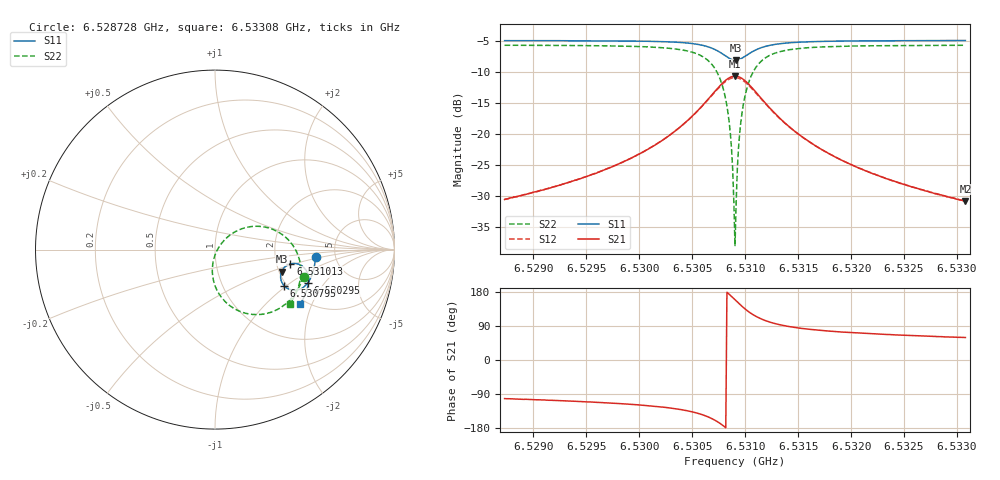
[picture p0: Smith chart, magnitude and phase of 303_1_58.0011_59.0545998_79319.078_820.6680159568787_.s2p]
#  HZ  S  RI  R  50.00
! Rohde & Schwarz Vector Network Analyzer
! Rohde-Schwarz,ZNB20-2Port,1311601062101988,3.16
! Created: UTC 3/21/2024, 1:03:52 AM
! freq[Hz]  re:S11  im:S11  re:S21  im:S21  re:S12  im:S12  re:S22  im:S22
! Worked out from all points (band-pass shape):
!   401 points, 6.528728 GHz to 6.53308 GHz, reference 50 ohm
!   highest |S21| = -10.73 dB at 6.530904 GHz (marker M1); lowest = -30.8 dB at 6.53308 GHz (marker M2)
!   |S21| within 3 dB of the highest: 6.530687 GHz to 6.531122 GHz (435.7 kHz wide, 0.00667 % of centre)
!   lowest |S11| = -8.2 dB at 6.530915 GHz (marker M3), VSWR 2.28, Z = 103 - j29.9 ohm
!   |S11| at or under -10 dB: nowhere
!   |S22| runs from -38.1 to -5.8 dB; largest |S21 - S12| = 0.011
!   S11 on the Smith chart (normalised r, x): 6.528728 GHz: 3.50, -0.45; 6.530295 GHz: 2.59, -1.39; 6.530795 GHz: 1.94, -0.96; 6.531013 GHz: 2.39, -0.46; 6.53308 GHz: 1.84, -1.65
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6.5287283e9  0.56 -0.044  -0.00605 -0.0289  -0.00667 -0.0288  0.4933 -0.1502
6.5294572e9  0.5511 -0.1039  -0.0149 -0.0413  -0.0158 -0.0409  0.4645 -0.2165
6.5301862e9  0.5244 -0.1749  -0.0465 -0.071  -0.0485 -0.0698  0.3877 -0.3083
6.530295e9  0.5157 -0.1877  -0.0589 -0.0788  -0.0611 -0.0771  0.3616 -0.326
6.5306323e9  0.4532 -0.2258  -0.1544 -0.0961  -0.1567 -0.0902  0.1808 -0.3569
6.5307302e9  0.414 -0.2213  -0.2153 -0.0725  -0.2148 -0.0636  0.0775 -0.3083
6.5307955e9  0.3848 -0.2012  -0.2586 -0.0277  -0.2543 -0.0184  0.011 -0.2261
6.5308499e9  0.3679 -0.1697  -0.28 0.033  -0.2723 0.0407  -0.0151 -0.1217
6.5308717e9  0.3657 -0.1542  -0.2809 0.0616  -0.2719 0.0678  -0.0116 -0.0746
6.5308825e9  0.3658 -0.1463  -0.2793 0.076  -0.2696 0.0815  -0.00637 -0.051
6.5308934e9  0.3668 -0.1383  -0.276 0.0904  -0.2664 0.0951  0.00108 -0.028
6.5309043e9  0.3686 -0.1305  -0.2714 0.1046  -0.2615 0.1084  0.0111 -0.00553
6.5309152e9  0.3712 -0.1226  -0.2654 0.1182  -0.2555 0.1211  0.0229 0.0158
6.5309261e9  0.3747 -0.1155  -0.2582 0.131  -0.2483 0.133  0.0372 0.0356
6.5309478e9  0.3838 -0.1025  -0.2404 0.1541  -0.2309 0.1543  0.0702 0.0702
6.5309587e9  0.3892 -0.0969  -0.23 0.1639  -0.2211 0.1635  0.0884 0.0847
6.5310131e9  0.4205 -0.0794  -0.1731 0.1948  -0.1666 0.1921  0.1876 0.1262
6.5310893e9  0.4611 -0.0798  -0.1017 0.1975  -0.0982 0.1948  0.3078 0.1178
6.5311981e9  0.4966 -0.1013  -0.04 0.169  -0.0384 0.1673  0.4081 0.0551
6.5316333e9  0.5211 -0.1797  0.014 0.0819  0.0151 0.0816  0.4785 -0.1287
6.5323623e9  0.5015 -0.2522  0.0166 0.0393  0.0174 0.0391  0.451 -0.2431
6.5330804e9  0.474 -0.3052  0.0146 0.0247  0.0152 0.0244  0.416 -0.3044
